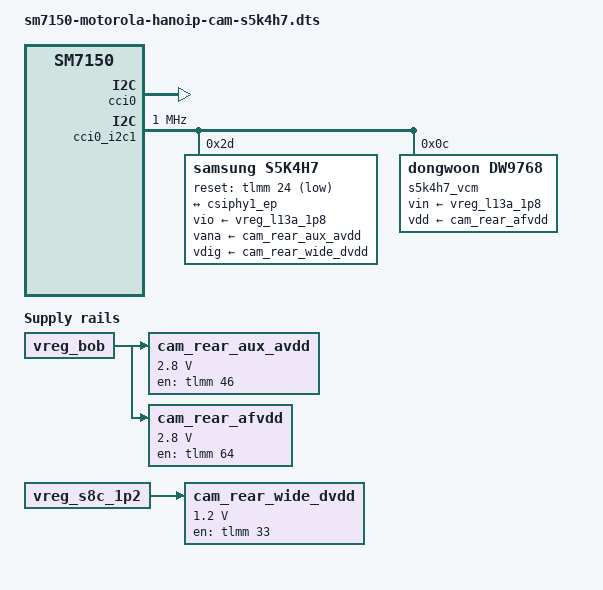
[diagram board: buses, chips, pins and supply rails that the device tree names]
// SPDX-License-Identifier: BSD-3-Clause
/*
 * CÂMERA — S5K4H7 (traseira wide/macro, 8 MP), slot 3.
 *
 * Reconstrução (29/10) do DTS da S5K4H7 que se chamava cam-etapa3: aquele
 * arquivo foi sobrescrito em 28/10 20:35 pela etapa3 da OV02B1B (alimentação
 * dos CSIPHY), e o U-Boot 9668a6dc... que leu "chip id 0x487b" se perdeu.
 * Valores: checkpoint-2026-10-28-camera.txt e o camid de 26/10
 * (sm7150-motorola-hanoip-pmos-camid.dts, ID lido nesses mesmos rails):
 *   CCI0 master1 0x2d, VIO L13A 1,8 V, VANA gpio46 2,8 V (divide com o
 *   OV02B1B), VDIG gpio33 1,2 V, MCLK1 24 MHz (gpio14), reset gpio24
 *   ativo-baixo, CSIPHY1 4 lanes, link 366 MHz.
 * Base: cam-etapa1 (só camss). Inclui a alimentação dos CSIPHY da etapa3 da
 * OV02B1B, validada lá. Driver: work/cameras-20261028/s5k4h7.
 */
#include <dt-bindings/clock/qcom,sm7150-camcc.h>
#include "sm7150-motorola-hanoip-cam-etapa1.dts"

/ {
	cam_rear_aux_avdd: regulator-cam-rear-aux-avdd {
		compatible = "regulator-fixed";
		regulator-name = "cam_rear_depth_wide_avdd_2p8";
		regulator-min-microvolt = <2800000>;
		regulator-max-microvolt = <2800000>;
		gpio = <&tlmm 46 GPIO_ACTIVE_HIGH>;
		enable-active-high;
		startup-delay-us = <1000>;
		vin-supply = <&vreg_bob>;
	};

	cam_rear_wide_dvdd: regulator-cam-rear-wide-dvdd {
		compatible = "regulator-fixed";
		regulator-name = "cam_rear_wide_dvdd_1p2";
		regulator-min-microvolt = <1200000>;
		regulator-max-microvolt = <1200000>;
		gpio = <&tlmm 33 GPIO_ACTIVE_HIGH>;
		enable-active-high;
		startup-delay-us = <1000>;
		vin-supply = <&vreg_s8c_1p2>;
	};

	/* VCM supply shared by the main and wide AF motors (stock gpio-regulator@5). */
	cam_rear_afvdd: regulator-cam-rear-afvdd {
		compatible = "regulator-fixed";
		regulator-name = "cam_rear_main_wide_afvdd_2p8";
		regulator-min-microvolt = <2800000>;
		regulator-max-microvolt = <2800000>;
		gpio = <&tlmm 64 GPIO_ACTIVE_HIGH>;
		enable-active-high;
		startup-delay-us = <1000>;
		vin-supply = <&vreg_bob>;
	};
};

&tlmm {
	cam_mclk1_default: cam-mclk1-default-state {
		pins = "gpio14";
		function = "cam_mclk";
		drive-strength = <2>;
		bias-disable;
	};
};

&cci0 {
	status = "okay";
};

&cci0_i2c1 {
	clock-frequency = <1000000>;	/* FM+; base DT default, 29/10 */

	s5k4h7: camera@2d {
		compatible = "samsung,s5k4h7";
		reg = <0x2d>;

		clocks = <&camcc CAMCC_MCLK1_CLK>;
		clock-names = "eclk";
		assigned-clocks = <&camcc CAMCC_MCLK1_CLK>;
		assigned-clock-rates = <24000000>;

		vio-supply = <&vreg_l13a_1p8>;
		vana-supply = <&cam_rear_aux_avdd>;
		vdig-supply = <&cam_rear_wide_dvdd>;

		reset-gpios = <&tlmm 24 GPIO_ACTIVE_LOW>;

		/*
		 * Android: sensor-position-roll 90, yaw 180 (same as the
		 * OV02B1B, slot 2); this stack needs 270 for upright images.
		 */
		orientation = <1>;
		rotation = <270>;
		lens-focus = <&s5k4h7_vcm>;

		pinctrl-0 = <&cam_mclk1_default>;
		pinctrl-names = "default";

		port {
			s5k4h7_ep: endpoint {
				data-lanes = <1 2 3 4>;
				link-frequencies = /bits/ 64 <366000000>;
				remote-endpoint = <&csiphy1_ep>;
			};
		};
	};

	/*
	 * Stock actuator@1 (cci0 master1, actuator-src of slot 3) uses the
	 * mot_hanoip_dw9714 profile, but its init list writes 0x02 (PD), 0x06
	 * (AAC presc), 0x07 (AAC time): the DW9768 register map. With VAF on,
	 * only 0x0c acks on this bus (29/10 scan) and dw9768 init + DAC writes
	 * there succeed; the DW9714 protocol does not.
	 */
	s5k4h7_vcm: camera-lens@c {
		compatible = "dongwoon,dw9768";
		reg = <0x0c>;
		vin-supply = <&vreg_l13a_1p8>;
		vdd-supply = <&cam_rear_afvdd>;
	};
};

&camss {
	vdda-phy-supply = <&refgen>;
	vdda-pll-supply = <&vreg_l3c_1p23>;

	ports {
		port@1 {
			csiphy1_ep: endpoint {
				clock-lanes = <7>;
				data-lanes = <0 1 2 3>;
				remote-endpoint = <&s5k4h7_ep>;
			};
		};
	};
};

/* Igual à etapa3: o refgen também alimenta o PHY do DSI (tela). */
&refgen {
	regulator-always-on;
};
